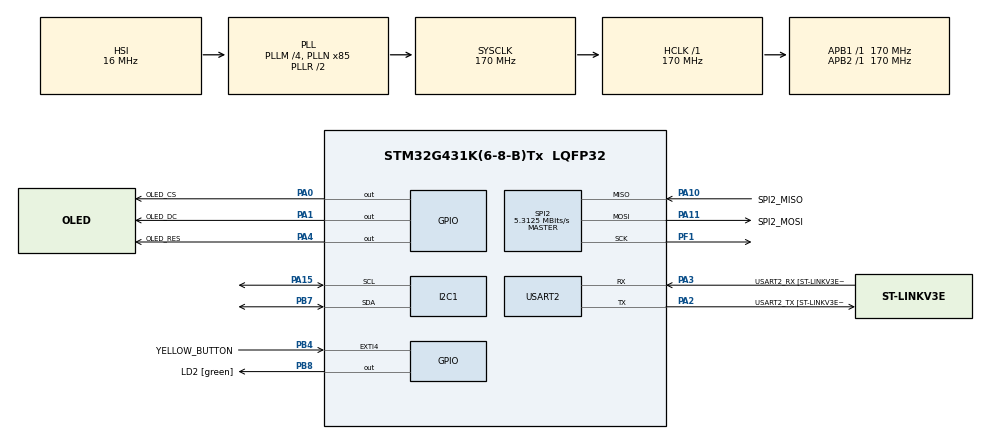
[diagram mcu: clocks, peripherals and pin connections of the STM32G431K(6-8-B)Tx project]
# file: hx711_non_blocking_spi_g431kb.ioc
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Dma.Request0=SPI2_RX
Dma.Request1=SPI2_TX
Dma.SPI2_RX.0.Direction=DMA_PERIPH_TO_MEMORY
Dma.SPI2_RX.0.EventEnable=DISABLE
Dma.SPI2_RX.0.Instance=DMA1_Channel1
Dma.SPI2_RX.0.MemDataAlignment=DMA_MDATAALIGN_BYTE
Dma.SPI2_RX.0.MemInc=DMA_MINC_ENABLE
Dma.SPI2_RX.0.Mode=DMA_NORMAL
Dma.SPI2_RX.0.PeriphDataAlignment=DMA_PDATAALIGN_BYTE
Dma.SPI2_RX.0.PeriphInc=DMA_PINC_DISABLE
Dma.SPI2_RX.0.Polarity=HAL_DMAMUX_REQ_GEN_RISING
Dma.SPI2_RX.0.Priority=DMA_PRIORITY_LOW
Dma.SPI2_RX.0.RequestNumber=1
Dma.SPI2_RX.0.SignalID=NONE
Dma.SPI2_RX.0.SyncEnable=DISABLE
Dma.SPI2_RX.0.SyncPolarity=HAL_DMAMUX_SYNC_NO_EVENT
Dma.SPI2_RX.0.SyncRequestNumber=1
Dma.SPI2_RX.0.SyncSignalID=NONE
Dma.SPI2_TX.1.Direction=DMA_MEMORY_TO_PERIPH
Dma.SPI2_TX.1.EventEnable=DISABLE
Dma.SPI2_TX.1.Instance=DMA1_Channel2
Dma.SPI2_TX.1.MemDataAlignment=DMA_MDATAALIGN_BYTE
Dma.SPI2_TX.1.MemInc=DMA_MINC_ENABLE
Dma.SPI2_TX.1.Mode=DMA_NORMAL
Dma.SPI2_TX.1.PeriphDataAlignment=DMA_PDATAALIGN_BYTE
Dma.SPI2_TX.1.PeriphInc=DMA_PINC_DISABLE
Dma.SPI2_TX.1.Polarity=HAL_DMAMUX_REQ_GEN_RISING
Dma.SPI2_TX.1.Priority=DMA_PRIORITY_LOW
Dma.SPI2_TX.1.RequestNumber=1
Dma.SPI2_TX.1.SignalID=NONE
Dma.SPI2_TX.1.SyncEnable=DISABLE
Dma.SPI2_TX.1.SyncPolarity=HAL_DMAMUX_SYNC_NO_EVENT
Dma.SPI2_TX.1.SyncRequestNumber=1
Dma.SPI2_TX.1.SyncSignalID=NONE
I2C1.Timing=0x30A0A7FB
Mcu.Family=STM32G4
Mcu.Name=STM32G431K(6-8-B)Tx
Mcu.Package=LQFP32
NVIC.DMA1_Channel1_IRQn=true\:0\:0\:false\:false\:true\:false\:true\:true
NVIC.DMA1_Channel2_IRQn=true\:0\:0\:false\:false\:true\:false\:true\:true
NVIC.EXTI4_IRQn=true\:0\:0\:false\:false\:true\:true\:true\:true
NVIC.PriorityGroup=NVIC_PRIORITYGROUP_4
NVIC.SPI2_IRQn=true\:0\:0\:false\:false\:true\:true\:true\:true
PA0.GPIO_Label=OLED_CS
PA0.Signal=GPIO_Output
PA1.GPIO_Label=OLED_DC
PA1.Signal=GPIO_Output
PA10.GPIO_Label=SPI2_MISO
PA10.Mode=Full_Duplex_Master
PA10.Signal=SPI2_MISO
PA11.GPIO_Label=SPI2_MOSI
PA11.Mode=Full_Duplex_Master
PA11.Signal=SPI2_MOSI
PA13.GPIO_Label=T_SWDIO
PA13.Mode=Serial_Wire
PA13.Signal=SYS_JTMS-SWDIO
PA14.GPIO_Label=T_SWCLK
PA14.Mode=Serial_Wire
PA14.Signal=SYS_JTCK-SWCLK
PA15.Mode=I2C
PA15.Signal=I2C1_SCL
PA2.GPIO_Label=USART2_TX [ST-LINKV3E_VCP_RX]
PA2.Mode=Asynchronous
PA2.Signal=USART2_TX
PA3.GPIO_Label=USART2_RX [ST-LINKV3E_VCP_TX]
PA3.Mode=Asynchronous
PA3.Signal=USART2_RX
PA4.GPIO_Label=OLED_RES
PA4.Signal=GPIO_Output
PB3.GPIO_Label=T_SWO
PB3.Signal=SYS_JTDO-SWO
PB4.GPIO_Label=YELLOW_BUTTON
PB4.GPIO_ModeDefaultEXTI=GPIO_MODE_IT_FALLING
PB4.GPIO_PuPd=GPIO_PULLUP
PB4.Signal=GPXTI4
PB7.Mode=I2C
PB7.Signal=I2C1_SDA
PB8-BOOT0.GPIO_Label=LD2 [green]
PB8-BOOT0.Signal=GPIO_Output
PF1-OSC_OUT.Mode=Full_Duplex_Master
PF1-OSC_OUT.Signal=SPI2_SCK
ProjectManager.HeapSize=0x200
ProjectManager.StackSize=0x400
ProjectManager.TargetToolchain=STM32CubeIDE
RCC.ADC12Freq_Value=170000000
RCC.AHBFreq_Value=170000000
RCC.APB1Freq_Value=170000000
RCC.APB1TimFreq_Value=170000000
RCC.APB2Freq_Value=170000000
RCC.APB2TimFreq_Value=170000000
RCC.CortexFreq_Value=170000000
RCC.EXTERNAL_CLOCK_VALUE=12288000
RCC.HCLKFreq_Value=170000000
RCC.HSE_VALUE=8000000
RCC.HSI48_VALUE=48000000
RCC.HSI_VALUE=16000000
RCC.LSE_VALUE=32768
RCC.PLLM=RCC_PLLM_DIV4
RCC.PLLN=85
RCC.SYSCLKFreq_VALUE=170000000
RCC.SYSCLKSource=RCC_SYSCLKSOURCE_PLLCLK
RCC.USBFreq_Value=170000000
RCC.VCOOutputFreq_Value=340000000
SPI2.BaudRatePrescaler=SPI_BAUDRATEPRESCALER_32
SPI2.CalculateBaudRate=5.3125 MBits/s
SPI2.DataSize=SPI_DATASIZE_8BIT
SPI2.Direction=SPI_DIRECTION_2LINES
SPI2.Mode=SPI_MODE_MASTER
SPI2.VirtualType=VM_MASTER
USART2.VirtualMode-Asynchronous=VM_ASYNC
USART2.WordLength=WORDLENGTH_8B
VP_SYS_VS_DBSignals.Mode=DisableDeadBatterySignals
board=NUCLEO-G431KB

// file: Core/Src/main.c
/* USER CODE BEGIN Header */
/**
 ******************************************************************************
 * @file           : main.c
 * @brief          : Main program body
 ******************************************************************************
 * @attention
 *
 * Copyright (c) 2024 STMicroelectronics.
 * All rights reserved.
 *
 * This software is licensed under terms that can be found in the LICENSE file
 * in the root directory of this software component.
 * If no LICENSE file comes with this software, it is provided AS-IS.
 *
 ******************************************************************************
 */
/* USER CODE END Header */
#include "main.h"
#include "dma.h"
#include "i2c.h"
#include "spi.h"
#include "usart.h"
#include "gpio.h"

/* USER CODE BEGIN Includes */
#include <math.h>
#include <stdio.h>
#include <stdlib.h>
#include "ssd1306.h"
/* USER CODE END Includes */

/* USER CODE BEGIN PD */
#define OLED_UPDATE_PERIOD 200

#define BYTE_TO_BINARY(byte)  \
  (byte & 0x80 ? '1' : '0'), \
  (byte & 0x40 ? '1' : '0'), \
  (byte & 0x20 ? '1' : '0'), \
  (byte & 0x10 ? '1' : '0'), \
  (byte & 0x08 ? '1' : '0'), \
  (byte & 0x04 ? '1' : '0'), \
  (byte & 0x02 ? '1' : '0'), \
  (byte & 0x01 ? '1' : '0')

#define CALIBRATION_X1 78070 // tare
#define CALIBRATION_Y1 0.0 // grams
#define CALIBRATION_X2 -81080 // loaded
#define CALIBRATION_Y2 222.22 // grams
/* USER CODE END PD */

/* USER CODE BEGIN PV */
uint8_t TxData[8] =
{ 0b0000000, 0x00000001, 0b01010101, 0b01010101, 0b01010101, 0b01010101,
		0b01010101, 0b01010101 };  // clock, 25 ticks
uint8_t RxData[8];
uint32_t raw_reading;
double converted_reading;

union
{
	uint32_t uint32_value;
	int32_t int32_value;
} uint2int_converter;

volatile uint8_t sensor_read_flag = 0;
volatile uint8_t yellow_button_flag = 0;

double measured_weight;

uint8_t UartMessage[256];
uint16_t MessageLength;

char lcd_line[32];
uint32_t SoftTimerLCD;
/* USER CODE END PV */

void SystemClock_Config(void);

int main(void)
{

  /* MCU Configuration--------------------------------------------------------*/

  /* Reset of all peripherals, Initializes the Flash interface and the Systick. */
  HAL_Init();

  /* Configure the system clock */
  SystemClock_Config();

  /* Initialize all configured peripherals */
  MX_GPIO_Init();
  MX_DMA_Init();
  MX_USART2_UART_Init();
  MX_SPI2_Init();
  MX_I2C1_Init();
  /* USER CODE BEGIN 2 */
	ssd1306_Init();

	ssd1306_Fill(Black);
	ssd1306_SetCursor(10, 2);
	ssd1306_WriteString("ufnalski.edu.pl", Font_7x10, White);
	ssd1306_SetCursor(5, 15);
	ssd1306_WriteString("HX711 (DMA)", Font_11x18, White);
	ssd1306_UpdateScreen();

	SoftTimerLCD = HAL_GetTick();
	HAL_SPI_TransmitReceive_DMA(&hspi2, (uint8_t*) (&TxData),
			(uint8_t*) (&RxData), sizeof(TxData));
  /* USER CODE END 2 */

  /* Infinite loop */
  /* USER CODE BEGIN WHILE */
	while (1)
	{

		if (((HAL_GetTick() - SoftTimerLCD) > OLED_UPDATE_PERIOD)
				&& (sensor_read_flag == 1))
		{
			SoftTimerLCD = HAL_GetTick();

			MessageLength =
					sprintf((char*) UartMessage,
							"HX711 raw reading: 0b %c%c%c%c%c%c%c%c %c%c%c%c%c%c%c%c %c%c%c%c%c%c%c%c %c%c%c%c%c%c%c%c %c%c%c%c%c%c%c%c %c%c%c%c%c%c%c%c %c%c%c%c%c%c%c%c %c%c%c%c%c%c%c%c \r\n",
							BYTE_TO_BINARY(RxData[0]),
							BYTE_TO_BINARY(RxData[1]),
							BYTE_TO_BINARY(RxData[2]),
							BYTE_TO_BINARY(RxData[3]),
							BYTE_TO_BINARY(RxData[4]),
							BYTE_TO_BINARY(RxData[5]),
							BYTE_TO_BINARY(RxData[6]), BYTE_TO_BINARY(RxData[7])
							);

			HAL_UART_Transmit(&huart2, UartMessage, MessageLength, 100);

			raw_reading = (((uint32_t) (RxData[7] & 0b00000010)) >> 1)
					| (((uint32_t) (RxData[7] & 0b00001000)) >> 2)
					| (((uint32_t) (RxData[7] & 0b00100000)) >> 3)
					| (((uint32_t) (RxData[7] & 0b10000000)) >> 4)
					| (((uint32_t) (RxData[6] & 0b00000010)) << 3)
					| (((uint32_t) (RxData[6] & 0b00001000)) << 2)
					| (((uint32_t) (RxData[6] & 0b00100000)) << 1)
					| (((uint32_t) (RxData[6] & 0b10000000)) << 0) |

					(((uint32_t) (RxData[5] & 0b00000010)) << 7)
					| (((uint32_t) (RxData[5] & 0b00001000)) << 6)
					| (((uint32_t) (RxData[5] & 0b00100000)) << 5)
					| (((uint32_t) (RxData[5] & 0b10000000)) << 4)
					| (((uint32_t) (RxData[4] & 0b00000010)) << 11)
					| (((uint32_t) (RxData[4] & 0b00001000)) << 10)
					| (((uint32_t) (RxData[4] & 0b00100000)) << 9)
					| (((uint32_t) (RxData[4] & 0b10000000)) << 8) |

					(((uint32_t) (RxData[3] & 0b00000010)) << 15)
					| (((uint32_t) (RxData[3] & 0b00001000)) << 14)
					| (((uint32_t) (RxData[3] & 0b00100000)) << 13)
					| (((uint32_t) (RxData[3] & 0b10000000)) << 12)
					| (((uint32_t) (RxData[2] & 0b00000010)) << 19)
					| (((uint32_t) (RxData[2] & 0b00001000)) << 18)
					| (((uint32_t) (RxData[2] & 0b00100000)) << 17)
					| (((uint32_t) (RxData[2] & 0b10000000)) << 16) |

					(((uint32_t) (RxData[1] & 0b00000010)) << 23)
					| (((uint32_t) (RxData[1] & 0b00001000)) << 22)
					| (((uint32_t) (RxData[1] & 0b00100000)) << 21)
					| (((uint32_t) (RxData[1] & 0b10000000)) << 20);

			raw_reading = raw_reading << 8; // 24-bit two's complement in 32-bit variable
			uint2int_converter.uint32_value = raw_reading;
			converted_reading = ((double) uint2int_converter.int32_value)
					/ 256.0;

			measured_weight =
					((double) (CALIBRATION_Y2 - CALIBRATION_Y1))
							/ ((double) (CALIBRATION_X2 - CALIBRATION_X1))
							* (converted_reading - (double) CALIBRATION_X2)+ CALIBRATION_Y2;

			sprintf(lcd_line, "%.0f g    ", round(measured_weight));
			ssd1306_SetCursor(10, 37);
			ssd1306_WriteString(lcd_line, Font_16x26, White);
			ssd1306_UpdateScreen();
		}

		if ((sensor_read_flag == 1)
				&& (HAL_GPIO_ReadPin(SPI2_MISO_GPIO_Port, SPI2_MISO_Pin)
						== GPIO_PIN_RESET))
		{
			sensor_read_flag = 0;
			HAL_SPI_TransmitReceive_DMA(&hspi2, (uint8_t*) (&TxData),
					(uint8_t*) (&RxData), sizeof(TxData));
		}
    /* USER CODE END WHILE */

	}
}

void SystemClock_Config(void)
{
  RCC_OscInitTypeDef RCC_OscInitStruct = {0};
  RCC_ClkInitTypeDef RCC_ClkInitStruct = {0};

  /** Configure the main internal regulator output voltage
  */
  HAL_PWREx_ControlVoltageScaling(PWR_REGULATOR_VOLTAGE_SCALE1_BOOST);

  /** Initializes the RCC Oscillators according to the specified parameters
  * in the RCC_OscInitTypeDef structure.
  */
  RCC_OscInitStruct.OscillatorType = RCC_OSCILLATORTYPE_HSI;
  RCC_OscInitStruct.HSIState = RCC_HSI_ON;
  RCC_OscInitStruct.HSICalibrationValue = RCC_HSICALIBRATION_DEFAULT;
  RCC_OscInitStruct.PLL.PLLState = RCC_PLL_ON;
  RCC_OscInitStruct.PLL.PLLSource = RCC_PLLSOURCE_HSI;
  RCC_OscInitStruct.PLL.PLLM = RCC_PLLM_DIV4;
  RCC_OscInitStruct.PLL.PLLN = 85;
  RCC_OscInitStruct.PLL.PLLP = RCC_PLLP_DIV2;
  RCC_OscInitStruct.PLL.PLLQ = RCC_PLLQ_DIV2;
  RCC_OscInitStruct.PLL.PLLR = RCC_PLLR_DIV2;
  if (HAL_RCC_OscConfig(&RCC_OscInitStruct) != HAL_OK)
  {
    Error_Handler();
  }

  /** Initializes the CPU, AHB and APB buses clocks
  */
  RCC_ClkInitStruct.ClockType = RCC_CLOCKTYPE_HCLK|RCC_CLOCKTYPE_SYSCLK
                              |RCC_CLOCKTYPE_PCLK1|RCC_CLOCKTYPE_PCLK2;
  RCC_ClkInitStruct.SYSCLKSource = RCC_SYSCLKSOURCE_PLLCLK;
  RCC_ClkInitStruct.AHBCLKDivider = RCC_SYSCLK_DIV1;
  RCC_ClkInitStruct.APB1CLKDivider = RCC_HCLK_DIV1;
  RCC_ClkInitStruct.APB2CLKDivider = RCC_HCLK_DIV1;

  if (HAL_RCC_ClockConfig(&RCC_ClkInitStruct, FLASH_LATENCY_4) != HAL_OK)
  {
    Error_Handler();
  }
}

/* USER CODE BEGIN 4 */
void HAL_SPI_TxRxCpltCallback(SPI_HandleTypeDef *hspi)
{
	if (hspi->Instance == SPI2)
	{
		sensor_read_flag = 1;
	}
}

void HAL_GPIO_EXTI_Callback(uint16_t GPIO_Pin)
{
	if (GPIO_Pin == YELLOW_BUTTON_Pin)
	{
		yellow_button_flag = 1;
	}
}
/* USER CODE END 4 */

void Error_Handler(void)
{
	__disable_irq();
	while (1)
	{
	}
}
